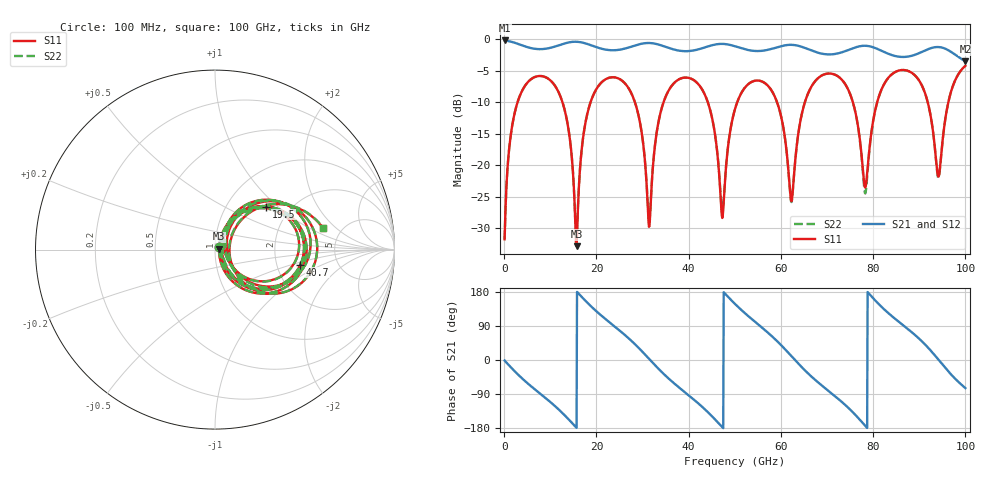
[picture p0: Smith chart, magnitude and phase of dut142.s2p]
! Touchstone file exported from HFSS 2026.1.0
!  File:  C:/ffzhzh/LocalFiles/Ansys_Project_Files/temp_train_TSV_RDL_142_1783643162_29156.aedt
!  Generated:  08:34:39 AM Jul 10, 2026
!  Design:  TSV_RDL
!  Project:  temp_train_TSV_RDL_142_1783643162_29156
! Variables:
!  h_bsmrdl = 2.38um
!  h_ox = 20um
!  h_rdl = 5um
!  h_sub = 72.93um
!  h_tmrdl = 2.8um
!  h_tsv = 72.93um
!  h_via = 3um
!  l_bsmrdl = 208.86um
!  l_sub = 3855.2um
!  l_tmrdl = 677.77um
!  m_sub = 200um
!  pitch = 46.97um
!  r_tsv = 7.88um
!  s_tmrdl = 10um
!  w_bsmrdl = 15.01um
!  w_sub = 500um
!  w_tmrdl = 24.17um
!  x_tsv_center1 = 689.855um
!  x_tsv_center2 = 913.725um
!  x_tsv_center3 = 1615.665um
!  x_tsv_center4 = 1839.535um
!  x_tsv_center5 = 2541.475um
!  x_tsv_center6 = 2765.345um
# GHz S MA R 50.000000
! Terminal data exported
! Port[1] = TM_RDL1_1_T1
! Port[2] = TM_RDL5_1_T1
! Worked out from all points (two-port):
!   1000 points, 100 MHz to 100 GHz, reference 50 ohm
!   highest |S21| = -0.19 dB at 100 MHz (marker M1); lowest = -3.5 dB at 100 GHz (marker M2)
!   |S21| within 3 dB of the highest: start of sweep to 99.29 GHz
!   lowest |S11| = -32.9 dB at 15.7 GHz (marker M3), VSWR 1.05, Z = 52.3 + j0.511 ohm
!   |S11| at or under -10 dB: 12.64 GHz to 18.74 GHz (6.099 GHz wide, 38.9 % of centre); 28.34 GHz to 34.56 GHz (6.221 GHz wide, 19.8 % of centre); 44.15 GHz to 50.54 GHz (6.388 GHz wide, 13.5 % of centre) (the widest 3 of 7)
!   |S22| runs from -32.4 to -4.2 dB; largest |S21 - S12| = 1.1e-12
!   S11 on the Smith chart (normalised r, x): 100 MHz: 1.05, +0.03; 19.5 GHz: 1.51, +0.84; 40.7 GHz: 2.72, -0.60; 100 GHz: 3.63, +1.38
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0.1  0.02575 30.4  0.978 -1.4  0.978 -1.4  0.02575 30.4
! Gamma 0 0 0 0
! Port Impedance 50 0 50 0
2.4  0.2707 52.9  0.9348 -31.1  0.9348 -31.1  0.2707 53.0
7.7  0.5105 0.3  0.8343 -87.8  0.8343 -87.8  0.5106 0.4
13  0.2851 -52.6  0.9232 -144.4  0.9232 -144.4  0.2852 -52.3
15.7  0.02269 12.4  0.9548 -179.0  0.9548 -179.0  0.02397 11.7
16.8  0.1318 65.6  0.9435 166.7  0.9435 166.7  0.132 65.1
19.5  0.3715 40.2  0.8783 134.1  0.8783 134.1  0.3716 40.1
27.5  0.3769 -36.5  0.8716 51.7  0.8716 51.7  0.3771 -36.2
31.4  0.0323 -5.9  0.9337 3.3  0.9337 3.3  0.03461 -5.3
33.4  0.2142 58.6  0.9088 -22.4  0.9088 -22.4  0.2145 58.1
40.7  0.4829 -10.0  0.8104 -100.1  0.8104 -100.1  0.4831 -9.9
47.3  0.03801 2.7  0.9187 -177.3  0.9187 -177.3  0.04158 2.5
50.1  0.2828 50.4  0.8783 147.3  0.8783 147.3  0.2833 49.7
57.8  0.4003 -21.4  0.8349 65.5  0.8349 65.5  0.4003 -21.7
62.3  0.05169 11.6  0.9029 10.1  0.9029 10.1  0.05085 11.4
66.7  0.4256 40.3  0.8121 -44.6  0.8121 -44.6  0.4255 40.1
74.3  0.4178 -27.7  0.8132 -122.5  0.8132 -122.5  0.4174 -28.4
78.3  0.06629 7.7  0.8874 -173.8  0.8874 -173.8  0.05948 7.7
83.4  0.4994 27.9  0.7636 122.6  0.7636 122.6  0.4986 28.5
90.2  0.4549 -31.3  0.7821 53.6  0.7821 53.6  0.4545 -31.2
93.7  0.1044 -33.8  0.8668 7.5  0.8668 7.5  0.1028 -34.3
100  0.6146 11.1  0.6681 -74.2  0.6681 -74.2  0.6142 11.4
